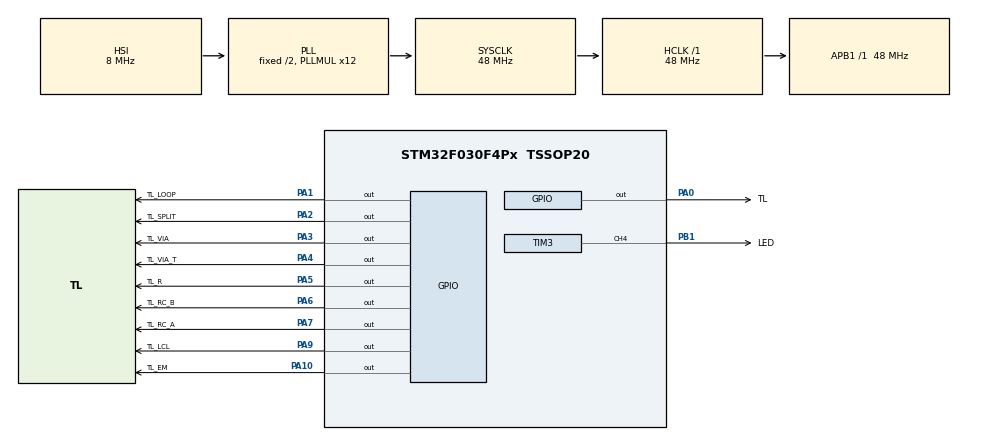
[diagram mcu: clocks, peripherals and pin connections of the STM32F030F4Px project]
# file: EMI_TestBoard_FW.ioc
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Mcu.Family=STM32F0
Mcu.Name=STM32F030F4Px
Mcu.Package=TSSOP20
PA0.GPIO_Label=TL
PA0.GPIO_Speed=GPIO_SPEED_FREQ_HIGH
PA0.PinState=GPIO_PIN_RESET
PA0.Signal=GPIO_Output
PA1.GPIO_Label=TL_LOOP
PA1.GPIO_Speed=GPIO_SPEED_FREQ_HIGH
PA1.Signal=GPIO_Output
PA10.GPIO_Label=TL_EM
PA10.GPIO_Speed=GPIO_SPEED_FREQ_HIGH
PA10.Signal=GPIO_Output
PA13.Mode=Serial_Wire
PA13.Signal=SYS_SWDIO
PA14.Mode=Serial_Wire
PA14.Signal=SYS_SWCLK
PA2.GPIO_Label=TL_SPLIT
PA2.GPIO_Speed=GPIO_SPEED_FREQ_HIGH
PA2.Signal=GPIO_Output
PA3.GPIO_Label=TL_VIA
PA3.GPIO_Speed=GPIO_SPEED_FREQ_HIGH
PA3.Signal=GPIO_Output
PA4.GPIO_Label=TL_VIA_T
PA4.GPIO_Speed=GPIO_SPEED_FREQ_HIGH
PA4.Signal=GPIO_Output
PA5.GPIO_Label=TL_R
PA5.GPIO_Speed=GPIO_SPEED_FREQ_HIGH
PA5.Signal=GPIO_Output
PA6.GPIO_Label=TL_RC_B
PA6.GPIO_Speed=GPIO_SPEED_FREQ_HIGH
PA6.Signal=GPIO_Output
PA7.GPIO_Label=TL_RC_A
PA7.GPIO_Speed=GPIO_SPEED_FREQ_HIGH
PA7.Signal=GPIO_Output
PA9.GPIO_Label=TL_LCL
PA9.GPIO_Speed=GPIO_SPEED_FREQ_HIGH
PA9.Signal=GPIO_Output
PB1.GPIO_Label=LED
PB1.Signal=S_TIM3_CH4
PF0-OSC_IN.Mode=HSE-External-Oscillator
PF0-OSC_IN.Signal=RCC_OSC_IN
PF1-OSC_OUT.Mode=HSE-External-Oscillator
PF1-OSC_OUT.Signal=RCC_OSC_OUT
ProjectManager.HeapSize=0x200
ProjectManager.StackSize=0x400
ProjectManager.TargetToolchain=STM32CubeIDE
RCC.AHBFreq_Value=48000000
RCC.APB1Freq_Value=48000000
RCC.APB1TimFreq_Value=48000000
RCC.HCLKFreq_Value=48000000
RCC.PLLMUL=RCC_PLL_MUL12
RCC.SYSCLKFreq_VALUE=48000000
RCC.SYSCLKSource=RCC_SYSCLKSOURCE_PLLCLK
SH.S_TIM3_CH4.0=TIM3_CH4,PWM Generation4 CH4
TIM3.Channel-PWM\ Generation4\ CH4=TIM_CHANNEL_4
TIM3.Period=10000-1
TIM3.Prescaler=48-1
VP_TIM3_VS_ClockSourceINT.Mode=Internal
board=custom

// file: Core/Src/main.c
/* USER CODE BEGIN Header */
/**
  ******************************************************************************
  * @file           : main.c
  * @brief          : Main program body
  ******************************************************************************
  * @attention
  *
  * <h2><center>&copy; Copyright (c) 2022 STMicroelectronics.
  * All rights reserved.</center></h2>
  *
  * This software component is licensed by ST under BSD 3-Clause license,
  * the "License"; You may not use this file except in compliance with the
  * License. You may obtain a copy of the License at:
  *                        opensource.org/licenses/BSD-3-Clause
  *
  ******************************************************************************
  */
/* USER CODE END Header */
#include "main.h"

TIM_HandleTypeDef htim3;

void SystemClock_Config(void);
static void MX_GPIO_Init(void);
static void MX_TIM3_Init(void);

int main(void)
{

  /* MCU Configuration--------------------------------------------------------*/

  /* Reset of all peripherals, Initializes the Flash interface and the Systick. */
  HAL_Init();

  /* Configure the system clock */
  SystemClock_Config();

  /* Initialize all configured peripherals */
  MX_GPIO_Init();
  MX_TIM3_Init();
  /* USER CODE BEGIN 2 */
  const uint16_t NUM_PINS = 10;
  const uint16_t PIN_LIST[NUM_PINS] = {TL_Pin, TL_LOOP_Pin, TL_SPLIT_Pin, TL_VIA_Pin,
          	  	  	  	 	 	 	   TL_VIA_T_Pin, TL_R_Pin, TL_RC_B_Pin, TL_RC_A_Pin,
									   TL_LCL_Pin, TL_EM_Pin};

  const uint32_t TOGGLE_DELAY_MS = 1;
  const uint32_t MAX_TOGGLE_COUNT = 1000;

  /* USER CODE END 2 */

  /* Infinite loop */
  /* USER CODE BEGIN WHILE */
  uint8_t pinIndex = 0;
  uint32_t toggleCount = 0;

  while (1)
  {
    /* USER CODE END WHILE */
	/* USER CODE BEGIN 3 */

	/* Toggle current GPIO pin in list and wait N ms */
	HAL_GPIO_TogglePin(GPIOA, PIN_LIST[pinIndex]);
	HAL_Delay(TOGGLE_DELAY_MS);

	/* Check if toggle count has been reached */
	if ( toggleCount >= MAX_TOGGLE_COUNT ) {

		/* Switch to next pin in list */
		pinIndex++;

		if ( pinIndex == NUM_PINS ) {
			pinIndex = 0;
		}

		/* Reset toggle count */
		toggleCount = 0;

	}

  }
  /* USER CODE END 3 */
}

void SystemClock_Config(void)
{
  RCC_OscInitTypeDef RCC_OscInitStruct = {0};
  RCC_ClkInitTypeDef RCC_ClkInitStruct = {0};

  /** Initializes the RCC Oscillators according to the specified parameters
  * in the RCC_OscInitTypeDef structure.
  */
  RCC_OscInitStruct.OscillatorType = RCC_OSCILLATORTYPE_HSI;
  RCC_OscInitStruct.HSIState = RCC_HSI_ON;
  RCC_OscInitStruct.HSICalibrationValue = RCC_HSICALIBRATION_DEFAULT;
  RCC_OscInitStruct.PLL.PLLState = RCC_PLL_ON;
  RCC_OscInitStruct.PLL.PLLSource = RCC_PLLSOURCE_HSI;
  RCC_OscInitStruct.PLL.PLLMUL = RCC_PLL_MUL12;
  RCC_OscInitStruct.PLL.PREDIV = RCC_PREDIV_DIV1;
  if (HAL_RCC_OscConfig(&RCC_OscInitStruct) != HAL_OK)
  {
    Error_Handler();
  }
  /** Initializes the CPU, AHB and APB buses clocks
  */
  RCC_ClkInitStruct.ClockType = RCC_CLOCKTYPE_HCLK|RCC_CLOCKTYPE_SYSCLK
                              |RCC_CLOCKTYPE_PCLK1;
  RCC_ClkInitStruct.SYSCLKSource = RCC_SYSCLKSOURCE_PLLCLK;
  RCC_ClkInitStruct.AHBCLKDivider = RCC_SYSCLK_DIV1;
  RCC_ClkInitStruct.APB1CLKDivider = RCC_HCLK_DIV1;

  if (HAL_RCC_ClockConfig(&RCC_ClkInitStruct, FLASH_LATENCY_1) != HAL_OK)
  {
    Error_Handler();
  }
}

static void MX_TIM3_Init(void)
{

  TIM_ClockConfigTypeDef sClockSourceConfig = {0};
  TIM_MasterConfigTypeDef sMasterConfig = {0};
  TIM_OC_InitTypeDef sConfigOC = {0};

  htim3.Instance = TIM3;
  htim3.Init.Prescaler = 48-1;
  htim3.Init.CounterMode = TIM_COUNTERMODE_UP;
  htim3.Init.Period = 10000-1;
  htim3.Init.ClockDivision = TIM_CLOCKDIVISION_DIV1;
  htim3.Init.AutoReloadPreload = TIM_AUTORELOAD_PRELOAD_DISABLE;
  if (HAL_TIM_Base_Init(&htim3) != HAL_OK)
  {
    Error_Handler();
  }
  sClockSourceConfig.ClockSource = TIM_CLOCKSOURCE_INTERNAL;
  if (HAL_TIM_ConfigClockSource(&htim3, &sClockSourceConfig) != HAL_OK)
  {
    Error_Handler();
  }
  if (HAL_TIM_PWM_Init(&htim3) != HAL_OK)
  {
    Error_Handler();
  }
  sMasterConfig.MasterOutputTrigger = TIM_TRGO_RESET;
  sMasterConfig.MasterSlaveMode = TIM_MASTERSLAVEMODE_DISABLE;
  if (HAL_TIMEx_MasterConfigSynchronization(&htim3, &sMasterConfig) != HAL_OK)
  {
    Error_Handler();
  }
  sConfigOC.OCMode = TIM_OCMODE_PWM1;
  sConfigOC.Pulse = 0;
  sConfigOC.OCPolarity = TIM_OCPOLARITY_HIGH;
  sConfigOC.OCFastMode = TIM_OCFAST_DISABLE;
  if (HAL_TIM_PWM_ConfigChannel(&htim3, &sConfigOC, TIM_CHANNEL_4) != HAL_OK)
  {
    Error_Handler();
  }
  HAL_TIM_MspPostInit(&htim3);

}

static void MX_GPIO_Init(void)
{
  GPIO_InitTypeDef GPIO_InitStruct = {0};

  /* GPIO Ports Clock Enable */
  __HAL_RCC_GPIOF_CLK_ENABLE();
  __HAL_RCC_GPIOA_CLK_ENABLE();
  __HAL_RCC_GPIOB_CLK_ENABLE();

  /*Configure GPIO pin Output Level */
  HAL_GPIO_WritePin(GPIOA, TL_Pin|TL_LOOP_Pin|TL_SPLIT_Pin|TL_VIA_Pin
                          |TL_VIA_T_Pin|TL_R_Pin|TL_RC_B_Pin|TL_RC_A_Pin
                          |TL_LCL_Pin|TL_EM_Pin, GPIO_PIN_RESET);

  /*Configure GPIO pins : TL_Pin TL_LOOP_Pin TL_SPLIT_Pin TL_VIA_Pin
                           TL_VIA_T_Pin TL_R_Pin TL_RC_B_Pin TL_RC_A_Pin
                           TL_LCL_Pin TL_EM_Pin */
  GPIO_InitStruct.Pin = TL_Pin|TL_LOOP_Pin|TL_SPLIT_Pin|TL_VIA_Pin
                          |TL_VIA_T_Pin|TL_R_Pin|TL_RC_B_Pin|TL_RC_A_Pin
                          |TL_LCL_Pin|TL_EM_Pin;
  GPIO_InitStruct.Mode = GPIO_MODE_OUTPUT_PP;
  GPIO_InitStruct.Pull = GPIO_NOPULL;
  GPIO_InitStruct.Speed = GPIO_SPEED_FREQ_HIGH;
  HAL_GPIO_Init(GPIOA, &GPIO_InitStruct);

}

void Error_Handler(void)
{
  __disable_irq();
  while (1)
  {
  }
}

/************************ (C) COPYRIGHT STMicroelectronics *****END OF FILE****/
